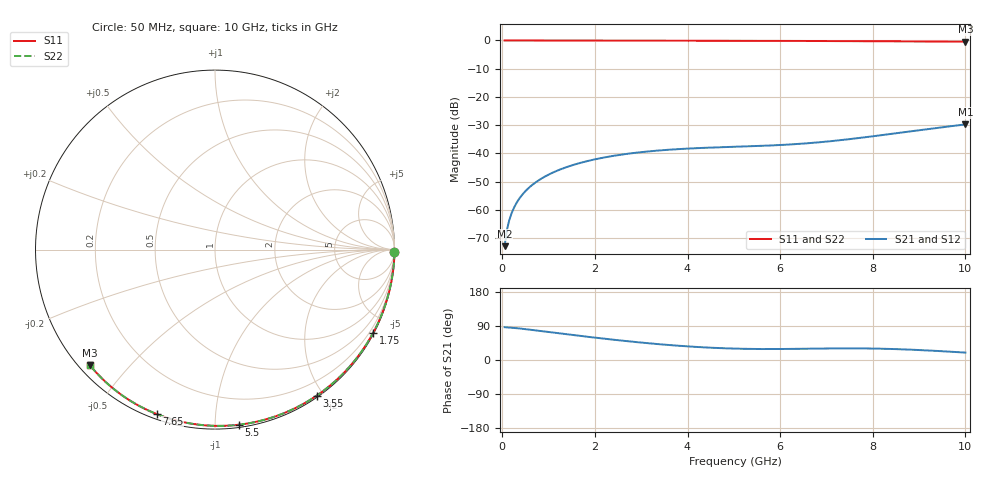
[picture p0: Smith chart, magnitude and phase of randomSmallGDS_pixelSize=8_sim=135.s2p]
! freq	dB(S11)	phase(S11)	dB(S12)	phase(S12)
!  dB(S21)	phase(S21)	dB(S22)	phase(S22)
!S-par simulation data
#  GHz  S  DB  R 50
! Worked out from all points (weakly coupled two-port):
!   200 points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, 50 MHz to 10 GHz, reference 50 ohm
!   highest |S21| = -29.75 dB at 10 GHz (marker M1); lowest = -72.9 dB at 50 MHz (marker M2)
!   lowest |S11| = -0.5 dB at 10 GHz (marker M3), VSWR 38.15, Z = 1.51 - j19.5 ohm
!   |S11| at or under -10 dB: nowhere
!   |S22| runs from -0.5 to 0.0 dB; largest |S21 - S12| = 0
!   S11 on the Smith chart (normalised r, x): 50 MHz: open; 1.75 GHz: 0.04, -4.03; 3.55 GHz: 0.02, -1.92; 5.5 GHz: 0.02, -1.14; 7.65 GHz: 0.02, -0.71; 10 GHz: 0.03, -0.39
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0.05  -0.00 -0.8  -72.90 86.5  -72.90 86.5  -0.00 -0.8
0.1  -0.00 -1.6  -67.14 86.1  -67.14 86.1  -0.00 -1.6
0.15  -0.00 -2.4  -63.72 85.8  -63.72 85.8  -0.00 -2.4
0.2  -0.00 -3.2  -61.26 85.4  -61.26 85.4  -0.00 -3.2
0.25  -0.00 -4.0  -59.35 84.8  -59.35 84.8  -0.00 -4.0
0.35  -0.00 -5.7  -56.46 83.6  -56.46 83.6  -0.00 -5.7
0.5  -0.01 -8.1  -53.40 81.4  -53.40 81.4  -0.01 -8.1
0.7  -0.01 -11.3  -50.53 78.4  -50.53 78.4  -0.01 -11.3
1  -0.02 -16.1  -47.54 73.9  -47.54 73.9  -0.02 -16.0
1.35  -0.03 -21.6  -45.10 68.5  -45.10 68.5  -0.03 -21.6
1.75  -0.04 -27.9  -43.10 62.6  -43.10 62.6  -0.04 -27.8
2.5  -0.05 -39.4  -40.63 52.2  -40.63 52.2  -0.05 -39.4
3.4  -0.07 -52.9  -38.97 41.5  -38.97 41.5  -0.07 -52.8
3.55  -0.07 -55.1  -38.78 40.0  -38.78 40.0  -0.07 -55.0
4.3  -0.09 -65.8  -38.09 33.7  -38.09 33.7  -0.09 -65.8
5.05  -0.12 -76.2  -37.66 30.0  -37.66 30.0  -0.12 -76.2
5.5  -0.13 -82.3  -37.41 29.0  -37.41 29.0  -0.13 -82.2
6.7  -0.19 -97.8  -36.29 30.0  -36.29 30.0  -0.19 -97.8
7.65  -0.25 -109.6  -34.68 30.7  -34.68 30.7  -0.25 -109.5
8.35  -0.30 -118.0  -33.22 29.3  -33.22 29.3  -0.30 -117.9
9.2  -0.37 -128.0  -31.40 25.1  -31.40 25.1  -0.37 -127.9
10  -0.46 -137.3  -29.75 19.5  -29.75 19.5  -0.46 -137.2
